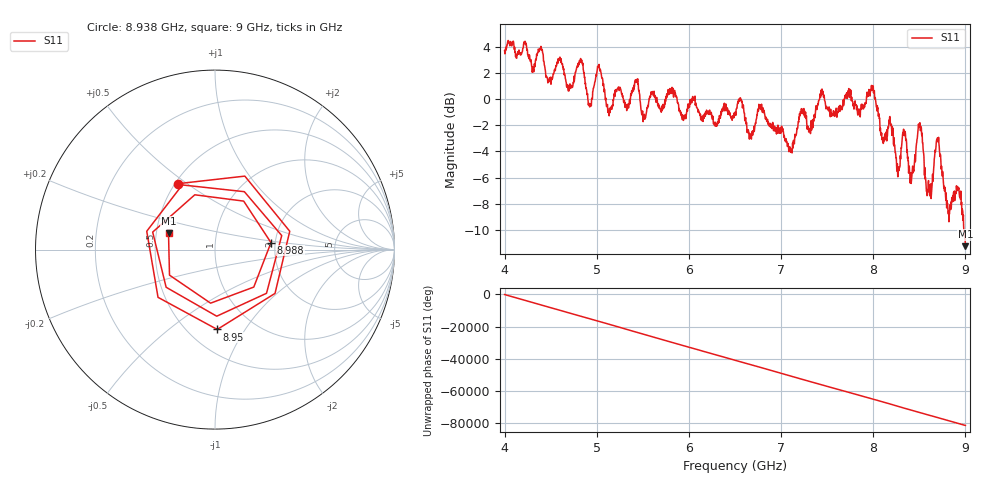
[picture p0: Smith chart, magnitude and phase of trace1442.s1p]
! Created with skrf 1.8.0 (http://scikit-rf.org).
# Hz S RI R 50.0
!freq ReS11 ImS11
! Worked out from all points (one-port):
!   1601 points, 4 GHz to 9 GHz, reference 50 ohm
!   lowest |S11| = -11.2 dB at 9 GHz (marker M1), VSWR 1.76, Z = 29 + j5.64 ohm
!   |S11| at or under -10 dB: 8.983385 GHz to end of sweep
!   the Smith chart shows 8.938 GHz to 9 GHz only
!   S11 on the Smith chart (normalised r, x): 8.938 GHz: 0.51, +0.46; 8.95 GHz: 0.68, -0.76; 8.988 GHz: 1.90, +0.16; 9 GHz: 0.58, +0.11
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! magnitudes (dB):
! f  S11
! 4 GHz  3.7
! 4.625 GHz  2.7
! 4.712 GHz  0.9
! 4.831 GHz  2.8
! 4.928 GHz  -0.6
! 5.019 GHz  2.5
! 5.128 GHz  -1.0
! 5.25 GHz  0.8
! 5.438 GHz  1.5
! 5.509 GHz  -1.3
! 5.875 GHz  -0.3
! 6.5 GHz  -1.2
! 6.784 GHz  -0.8
! 7.125 GHz  -3.4
! 7.222 GHz  -0.8
! 7.75 GHz  0.3
! 7.988 GHz  1.0
! 8.1 GHz  -3.0
! 8.375 GHz  -4.4
! 8.422 GHz  -5.6
! 8.506 GHz  -1.8
! 8.597 GHz  -6.4
! 8.697 GHz  -3.0
! 8.812 GHz  -8.7
! 8.938 GHz  -7.5
! 8.95 GHz  -7.0
! 8.988 GHz  -10.1
! 9 GHz  -11.2
